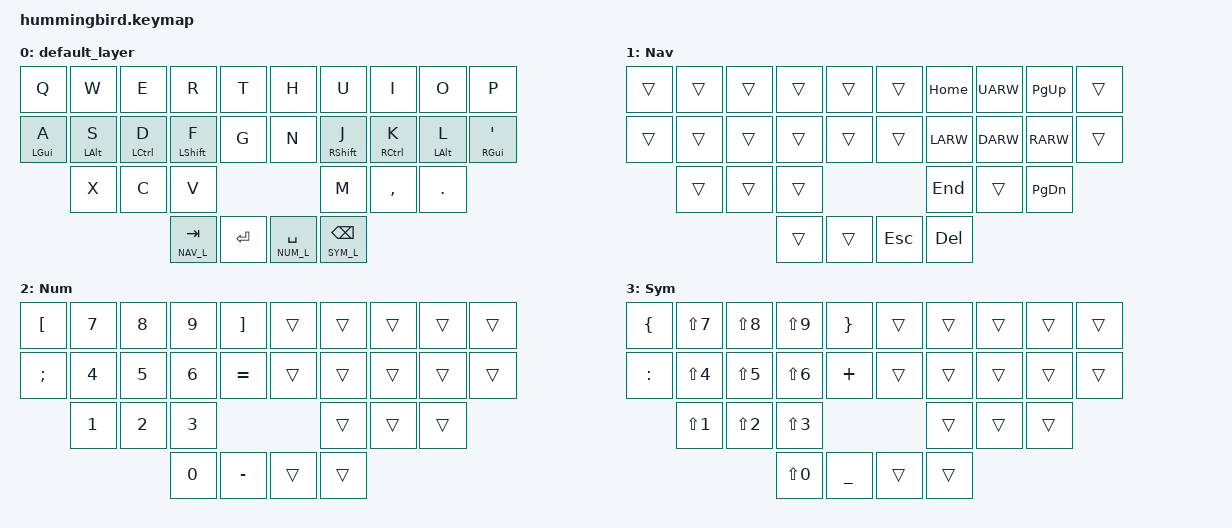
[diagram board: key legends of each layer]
/*
 * Copyright (c) 2022 The ZMK Contributors
 *
 * SPDX-License-Identifier: MIT
 */

#include <behaviors.dtsi>
#include <dt-bindings/zmk/keys.h>
#include <dt-bindings/zmk/bt.h>

#define DEF_L 0
#define NAV_L 1
#define NUM_L 2
#define SYM_L 3

// Using layer taps on thumbs, having quick tap as well helps w/ repeating space/backspace
&lt { quick_tap_ms = <200>; };

/ {
    behaviors {
        hm: homerow_mods {
            compatible = "zmk,behavior-hold-tap";
            label = "homerow mods";
            #binding-cells = <2>;
            tapping_term_ms = <225>;
            flavor = "tap-preferred";
            bindings = <&kp>, <&kp>;
        };
    };

    combos {
        compatible = "zmk,combos";
        combo_z {
            timeout-ms = <50>;
            key-positions = <20 21>;
            bindings = <&kp Z>;
        };
        combo_b {
            timeout-ms = <50>;
            key-positions = <21 22>;
            bindings = <&kp B>;
        };

        combo_y {
            timeout-ms = <50>;
            key-positions = <23 24>;
            bindings = <&kp Y>;
        };

        combo_slash {
            timeout-ms = <50>;
            key-positions = <24 25>;
            bindings = <&kp SLASH>;
        };
    };

    keymap {
        compatible = "zmk,keymap";

        default_layer {
            bindings = <
                &kp Q      &kp W      &kp E       &kp R           &kp T        &kp H            &kp U          &kp I       &kp O      &kp P
                &hm LGUI A &hm LALT S &hm LCTRL D &hm LSHFT F     &kp G        &kp N            &hm RSHFT J    &hm RCTRL K &hm LALT L &hm RGUI QUOT
                           &kp X      &kp C       &kp V                                         &kp M          &kp COMMA  &kp DOT
                                                  &lt NAV_L TAB  &kp RET       &lt NUM_L SPACE  &lt SYM_L BKSP
            >;
        };

        nav_layer {
            label = "Nav";
            bindings = <
                &trans     &trans     &trans      &trans          &trans       &trans           &kp HOME       &kp UARW &kp PG_UP  &trans
                &trans     &trans     &trans      &trans          &trans       &trans           &kp LARW       &kp DARW &kp RARW   &trans
                           &trans     &trans      &trans                                        &kp END        &trans   &kp PG_DN
                                                  &trans          &trans       &kp ESC          &kp DEL
            >;
        };

        num_layer {
            label = "Num";
            bindings = <
                &kp LBKT   &kp N7     &kp N8      &kp N9          &kp RBKT      &trans          &trans         &trans      &trans     &trans
                &kp SEMI   &kp N4     &kp N5      &kp N6          &kp EQUAL     &trans          &trans         &trans      &trans     &trans
                           &kp N1     &kp N2      &kp N3                                        &trans         &trans      &trans
                                                  &kp N0          &kp MINUS     &trans          &trans
            >;
        };

        sym_layer {
            label = "Sym";
            bindings = <
                &kp LBRC   &kp LS(N7) &kp LS(N8)  &kp LS(N9)      &kp RBRC      &trans          &trans         &trans      &trans     &trans
                &kp COLON  &kp LS(N4) &kp LS(N5)  &kp LS(N6)      &kp PLUS      &trans          &trans         &trans      &trans     &trans
                           &kp LS(N1) &kp LS(N2)  &kp LS(N3)                                    &trans         &trans      &trans
                                                  &kp LS(N0)      &kp UNDER     &trans          &trans
            >;
        };
    };
};
